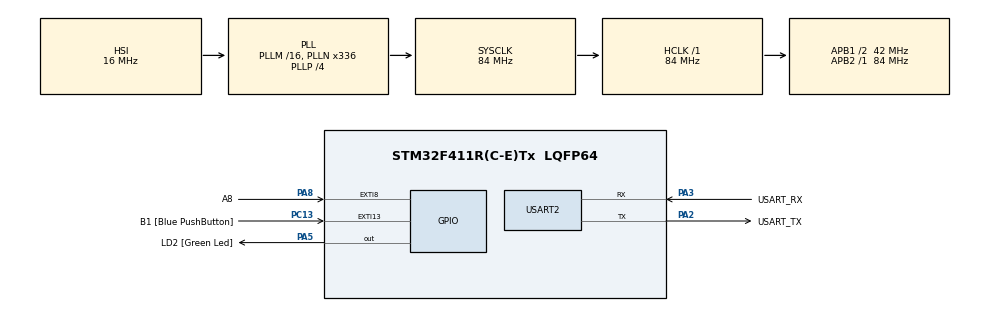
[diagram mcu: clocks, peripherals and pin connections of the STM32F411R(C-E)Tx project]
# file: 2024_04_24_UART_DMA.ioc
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Dma.Request0=USART2_RX
Dma.USART2_RX.0.Direction=DMA_PERIPH_TO_MEMORY
Dma.USART2_RX.0.FIFOMode=DMA_FIFOMODE_DISABLE
Dma.USART2_RX.0.Instance=DMA1_Stream5
Dma.USART2_RX.0.MemDataAlignment=DMA_MDATAALIGN_BYTE
Dma.USART2_RX.0.MemInc=DMA_MINC_ENABLE
Dma.USART2_RX.0.Mode=DMA_CIRCULAR
Dma.USART2_RX.0.PeriphDataAlignment=DMA_PDATAALIGN_BYTE
Dma.USART2_RX.0.PeriphInc=DMA_PINC_DISABLE
Dma.USART2_RX.0.Priority=DMA_PRIORITY_LOW
Mcu.Family=STM32F4
Mcu.Name=STM32F411R(C-E)Tx
Mcu.Package=LQFP64
NVIC.DMA1_Stream5_IRQn=true\:0\:0\:false\:false\:true\:false\:true\:true
NVIC.EXTI15_10_IRQn=true\:0\:0\:false\:false\:true\:true\:true\:true
NVIC.EXTI9_5_IRQn=true\:0\:0\:false\:false\:true\:true\:true\:true
NVIC.PriorityGroup=NVIC_PRIORITYGROUP_0
PA13.GPIO_Label=TMS
PA13.Mode=Serial_Wire
PA13.Signal=SYS_JTMS-SWDIO
PA14.GPIO_Label=TCK
PA14.Mode=Serial_Wire
PA14.Signal=SYS_JTCK-SWCLK
PA2.GPIO_Label=USART_TX
PA2.Mode=Asynchronous
PA2.Signal=USART2_TX
PA3.GPIO_Label=USART_RX
PA3.Mode=Asynchronous
PA3.Signal=USART2_RX
PA5.GPIO_Label=LD2 [Green Led]
PA5.Signal=GPIO_Output
PA8.GPIO_Label=A8
PA8.Signal=GPXTI8
PB3.GPIO_Label=SWO
PB3.Signal=SYS_JTDO-SWO
PC13-ANTI_TAMP.GPIO_Label=B1 [Blue PushButton]
PC13-ANTI_TAMP.GPIO_ModeDefaultEXTI=GPIO_MODE_IT_FALLING
PC13-ANTI_TAMP.Signal=GPXTI13
PC14-OSC32_IN.Mode=LSE-External-Oscillator
PC14-OSC32_IN.Signal=RCC_OSC32_IN
PC15-OSC32_OUT.Mode=LSE-External-Oscillator
PC15-OSC32_OUT.Signal=RCC_OSC32_OUT
PH0\ -\ OSC_IN.Mode=HSE-External-Clock-Source
PH0\ -\ OSC_IN.Signal=RCC_OSC_IN
PH1\ -\ OSC_OUT.Mode=HSE-External-Clock-Source
PH1\ -\ OSC_OUT.Signal=RCC_OSC_OUT
ProjectManager.HeapSize=0x200
ProjectManager.StackSize=0x400
ProjectManager.TargetToolchain=STM32CubeIDE
RCC.48MHZClocksFreq_Value=84000000
RCC.AHBFreq_Value=84000000
RCC.APB1CLKDivider=RCC_HCLK_DIV2
RCC.APB1Freq_Value=42000000
RCC.APB1TimFreq_Value=84000000
RCC.APB2Freq_Value=84000000
RCC.APB2TimFreq_Value=84000000
RCC.CortexFreq_Value=84000000
RCC.FLatency-AdvancedSettings=FLASH_LATENCY_2
RCC.HCLKFreq_Value=84000000
RCC.HSE_VALUE=8000000
RCC.HSI_VALUE=16000000
RCC.PLLN=336
RCC.PLLP=RCC_PLLP_DIV4
RCC.SYSCLKFreq_VALUE=84000000
RCC.SYSCLKSource=RCC_SYSCLKSOURCE_PLLCLK
RCC.VCOOutputFreq_Value=336000000
USART2.VirtualMode=VM_ASYNC
board=NUCLEO-F411RE

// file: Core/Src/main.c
/* USER CODE BEGIN Header */
/**
  ******************************************************************************
  * @file           : main.c
  * @brief          : Main program body
  ******************************************************************************
  * @attention
  *
  * Copyright (c) 2024 STMicroelectronics.
  * All rights reserved.
  *
  * This software is licensed under terms that can be found in the LICENSE file
  * in the root directory of this software component.
  * If no LICENSE file comes with this software, it is provided AS-IS.
  *
  ******************************************************************************
  */
/* USER CODE END Header */
#include "main.h"

/* USER CODE BEGIN Includes */
#include <stdio.h>
#include "D:\PJH\Github_clone\Haman3rd_PJH\ARM Architecture\Common\myLib.h"

/* USER CODE END Includes */

UART_HandleTypeDef huart2;
DMA_HandleTypeDef hdma_usart2_rx;

void SystemClock_Config(void);
static void MX_GPIO_Init(void);
static void MX_DMA_Init(void);
static void MX_USART2_UART_Init(void);

/* USER CODE BEGIN 0 */
#define MAX_BUF 100
char buf[MAX_BUF];
char rx;
int head=0, tail=0;

int GetBuffer(char *bb)  // copy DMA buffer data to array b
{
  int ret = 0;
  tail = MAX_BUF - huart2.hdmarx->Instance->NDTR;   // NDTR : buffer?��  ?��?�� 공간
  if(tail > head)
  {
    memcpy(bb, buf+head, tail-head);
    ret = tail-head;
  }
  else if(tail < head)
  {
    memcpy(bb, buf+head, MAX_BUF-head);
    memcpy(bb+MAX_BUF-head, buf, tail);
    ret = MAX_BUF -head + tail;
  }
  bb[ret] = 0;
  head = tail;
  return ret;
}

void HAL_UART_RxCpltCallback(UART_HandleTypeDef *huart)	// Receive�??? ?��루어 졌을 ?��..
{
    buf[tail++] = rx;
    HAL_UART_Receive_IT(huart, &rx, 1);
}
void HAL_GPIO_EXTI_Callback(uint16_t GPIO_Pin)
{
  if(GPIO_Pin == A8_Pin)
  {
    char bb[MAX_BUF];
    if(GetBuffer(bb))
      printf("%s\r\n", bb);
  }
  // else if(GPIO_Pin == SW1_Pin)
}
/* USER CODE END 0 */

int main(void)
{

  /* MCU Configuration--------------------------------------------------------*/

  /* Reset of all peripherals, Initializes the Flash interface and the Systick. */
  HAL_Init();

  /* Configure the system clock */
  SystemClock_Config();

  /* Initialize all configured peripherals */
  MX_GPIO_Init();
  MX_DMA_Init();
  MX_USART2_UART_Init();
  /* USER CODE BEGIN 2 */
  ProgramStart();
  HAL_UART_Receive_DMA(&huart2, buf, MAX_BUF);
  /* USER CODE END 2 */

  /* Infinite loop */
  /* USER CODE BEGIN WHILE */
  char bb[MAX_BUF];
  while (1)
  {
    /* USER CODE END WHILE */

    /* USER CODE BEGIN 3 */
    if(GetBuffer(bb)) printf("%s\r\n", bb);
    HAL_Delay(100);
  }
  /* USER CODE END 3 */
}

void SystemClock_Config(void)
{
  RCC_OscInitTypeDef RCC_OscInitStruct = {0};
  RCC_ClkInitTypeDef RCC_ClkInitStruct = {0};

  /** Configure the main internal regulator output voltage
  */
  __HAL_RCC_PWR_CLK_ENABLE();
  __HAL_PWR_VOLTAGESCALING_CONFIG(PWR_REGULATOR_VOLTAGE_SCALE1);

  /** Initializes the RCC Oscillators according to the specified parameters
  * in the RCC_OscInitTypeDef structure.
  */
  RCC_OscInitStruct.OscillatorType = RCC_OSCILLATORTYPE_HSI;
  RCC_OscInitStruct.HSIState = RCC_HSI_ON;
  RCC_OscInitStruct.HSICalibrationValue = RCC_HSICALIBRATION_DEFAULT;
  RCC_OscInitStruct.PLL.PLLState = RCC_PLL_ON;
  RCC_OscInitStruct.PLL.PLLSource = RCC_PLLSOURCE_HSI;
  RCC_OscInitStruct.PLL.PLLM = 16;
  RCC_OscInitStruct.PLL.PLLN = 336;
  RCC_OscInitStruct.PLL.PLLP = RCC_PLLP_DIV4;
  RCC_OscInitStruct.PLL.PLLQ = 4;
  if (HAL_RCC_OscConfig(&RCC_OscInitStruct) != HAL_OK)
  {
    Error_Handler();
  }

  /** Initializes the CPU, AHB and APB buses clocks
  */
  RCC_ClkInitStruct.ClockType = RCC_CLOCKTYPE_HCLK|RCC_CLOCKTYPE_SYSCLK
                              |RCC_CLOCKTYPE_PCLK1|RCC_CLOCKTYPE_PCLK2;
  RCC_ClkInitStruct.SYSCLKSource = RCC_SYSCLKSOURCE_PLLCLK;
  RCC_ClkInitStruct.AHBCLKDivider = RCC_SYSCLK_DIV1;
  RCC_ClkInitStruct.APB1CLKDivider = RCC_HCLK_DIV2;
  RCC_ClkInitStruct.APB2CLKDivider = RCC_HCLK_DIV1;

  if (HAL_RCC_ClockConfig(&RCC_ClkInitStruct, FLASH_LATENCY_2) != HAL_OK)
  {
    Error_Handler();
  }
}

static void MX_USART2_UART_Init(void)
{

  huart2.Instance = USART2;
  huart2.Init.BaudRate = 115200;
  huart2.Init.WordLength = UART_WORDLENGTH_8B;
  huart2.Init.StopBits = UART_STOPBITS_1;
  huart2.Init.Parity = UART_PARITY_NONE;
  huart2.Init.Mode = UART_MODE_TX_RX;
  huart2.Init.HwFlowCtl = UART_HWCONTROL_NONE;
  huart2.Init.OverSampling = UART_OVERSAMPLING_16;
  if (HAL_UART_Init(&huart2) != HAL_OK)
  {
    Error_Handler();
  }

}

static void MX_DMA_Init(void)
{

  /* DMA controller clock enable */
  __HAL_RCC_DMA1_CLK_ENABLE();

  /* DMA interrupt init */
  /* DMA1_Stream5_IRQn interrupt configuration */
  HAL_NVIC_SetPriority(DMA1_Stream5_IRQn, 0, 0);
  HAL_NVIC_EnableIRQ(DMA1_Stream5_IRQn);

}

static void MX_GPIO_Init(void)
{
  GPIO_InitTypeDef GPIO_InitStruct = {0};

  /* GPIO Ports Clock Enable */
  __HAL_RCC_GPIOC_CLK_ENABLE();
  __HAL_RCC_GPIOH_CLK_ENABLE();
  __HAL_RCC_GPIOA_CLK_ENABLE();
  __HAL_RCC_GPIOB_CLK_ENABLE();

  /*Configure GPIO pin Output Level */
  HAL_GPIO_WritePin(LD2_GPIO_Port, LD2_Pin, GPIO_PIN_RESET);

  /*Configure GPIO pin : B1_Pin */
  GPIO_InitStruct.Pin = B1_Pin;
  GPIO_InitStruct.Mode = GPIO_MODE_IT_FALLING;
  GPIO_InitStruct.Pull = GPIO_NOPULL;
  HAL_GPIO_Init(B1_GPIO_Port, &GPIO_InitStruct);

  /*Configure GPIO pin : LD2_Pin */
  GPIO_InitStruct.Pin = LD2_Pin;
  GPIO_InitStruct.Mode = GPIO_MODE_OUTPUT_PP;
  GPIO_InitStruct.Pull = GPIO_NOPULL;
  GPIO_InitStruct.Speed = GPIO_SPEED_FREQ_LOW;
  HAL_GPIO_Init(LD2_GPIO_Port, &GPIO_InitStruct);

  /*Configure GPIO pin : A8_Pin */
  GPIO_InitStruct.Pin = A8_Pin;
  GPIO_InitStruct.Mode = GPIO_MODE_IT_RISING;
  GPIO_InitStruct.Pull = GPIO_NOPULL;
  HAL_GPIO_Init(A8_GPIO_Port, &GPIO_InitStruct);

  /* EXTI interrupt init*/
  HAL_NVIC_SetPriority(EXTI9_5_IRQn, 0, 0);
  HAL_NVIC_EnableIRQ(EXTI9_5_IRQn);

  HAL_NVIC_SetPriority(EXTI15_10_IRQn, 0, 0);
  HAL_NVIC_EnableIRQ(EXTI15_10_IRQn);

}

void Error_Handler(void)
{
  __disable_irq();
  while (1)
  {
  }
}
